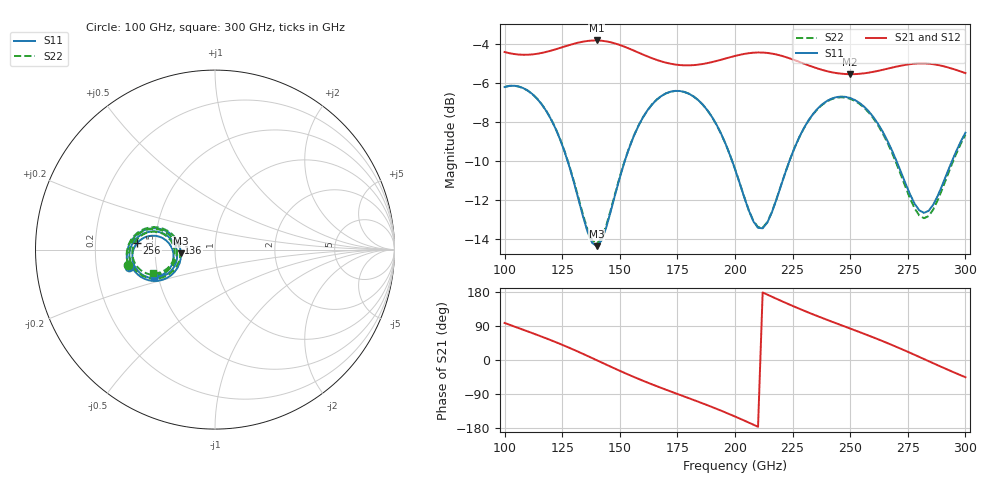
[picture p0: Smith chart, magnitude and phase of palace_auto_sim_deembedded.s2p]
! Created with skrf 1.11.0 (http://scikit-rf.org).
# GHz S DB R 50.0
!freq dBS11 angS11 dBS21 angS21 dBS12 angS12 dBS22 angS22
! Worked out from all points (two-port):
!   101 points, 100 GHz to 300 GHz, reference 50 ohm
!   highest |S21| = -3.80 dB at 140 GHz (marker M1); lowest = -5.5 dB at 250 GHz (marker M2)
!   |S21| within 3 dB of the highest: start of sweep to end of sweep
!   lowest |S11| = -14.4 dB at 140 GHz (marker M3), VSWR 1.47, Z = 34 - j1.4 ohm
!   |S11| at or under -10 dB: 127.3 GHz to 152.2 GHz (24.85 GHz wide, 17.8 % of centre); 198.7 GHz to 223.6 GHz (24.89 GHz wide, 11.8 % of centre); 270.1 GHz to 294.2 GHz (24.1 GHz wide, 8.54 % of centre)
!   |S22| runs from -14.2 to -6.1 dB; largest |S21 - S12| = 9.7e-14
!   S11 on the Smith chart (normalised r, x): 100 GHz: 0.35, -0.09; 136 GHz: 0.66, +0.05; 256 GHz: 0.39, +0.03; 300 GHz: 0.47, -0.17
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100  -6.20 -168.6  -4.40 97.8  -4.40 97.8  -6.20 -169.6
108  -6.25 179.8  -4.54 80.0  -4.54 80.0  -6.25 178.8
118  -7.41 166.6  -4.39 57.2  -4.39 57.2  -7.40 165.6
126  -9.51 159.5  -4.12 37.6  -4.12 37.6  -9.48 158.5
134  -12.84 164.6  -3.86 16.2  -3.86 16.2  -12.75 163.5
136  -13.64 170.0  -3.83 10.7  -3.83 10.7  -13.53 168.8
140  -14.38 -174.0  -3.80 -0.6  -3.80 -0.6  -14.25 -175.7
146  -12.62 -153.8  -3.89 -17.5  -3.89 -17.5  -12.54 -156.0
154  -9.36 -150.2  -4.22 -39.2  -4.22 -39.2  -9.33 -152.3
168  -6.66 -165.2  -4.88 -73.7  -4.88 -73.7  -6.66 -167.4
176  -6.40 -175.7  -5.07 -91.9  -5.07 -91.9  -6.40 -177.9
186  -7.10 171.8  -5.01 -114.6  -5.01 -114.6  -7.10 169.6
200  -10.42 162.7  -4.60 -149.1  -4.60 -149.1  -10.41 160.3
212  -13.46 -172.0  -4.42 178.2  -4.42 178.2  -13.43 -174.8
224  -9.88 -152.6  -4.73 145.4  -4.73 145.4  -9.88 -155.7
234  -7.56 -159.5  -5.17 120.2  -5.17 120.2  -7.58 -162.6
250  -6.76 -177.9  -5.54 83.0  -5.54 83.0  -6.80 178.6
256  -7.20 175.4  -5.49 69.2  -5.49 69.2  -7.26 171.8
268  -9.42 166.9  -5.20 40.0  -5.20 40.0  -9.54 162.9
282  -12.67 -174.2  -4.98 2.6  -4.98 2.6  -12.94 -177.6
290  -11.23 -157.3  -5.11 -19.3  -5.11 -19.3  -11.43 -160.1
300  -8.55 -156.0  -5.48 -45.4  -5.48 -45.4  -8.66 -159.0
